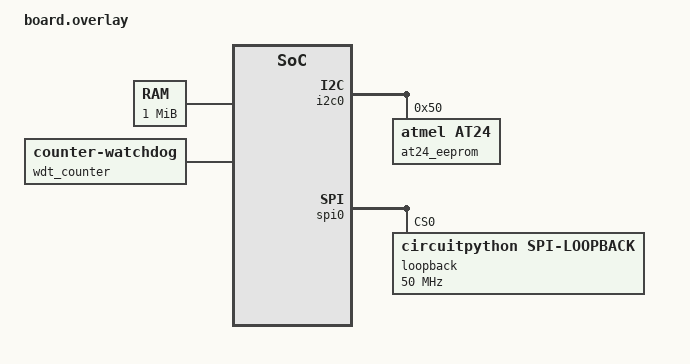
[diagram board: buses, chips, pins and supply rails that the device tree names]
/*
 * SPDX-License-Identifier: Apache-2.0
 *
 * Device tree overlay for CircuitPython on native_sim (littlefs filesystem).
 * Same as the native_sim overlay, but the user filesystem partition node is
 * named littlefs_partition to match the supervisor's littlefs build.
 */

#include <zephyr/dt-bindings/memory-attr/memory-attr-arm.h>

/* The mcuboot fork's layout (dts/native/native_sim.dtsi) is applied to this
 * image first and names the filesystem node fatfs_partition. Replace the whole
 * partition table so the filesystem node is littlefs_partition; the supervisor
 * opens the filesystem by that nodelabel. The geometry must match the fork's
 * layout: filesystem, then 8 KB storage, then 8 KB nvm. */

&flash0 {
	/delete-node/ partitions;

	partitions {
		#address-cells = <1>;
		#size-cells = <1>;

		littlefs_partition: partition@0 {
			compatible = "zephyr,mapped-partition";
			label = "filesystem";
			reg = <0x00000000 DT_SIZE_K(2032)>;
		};

		storage_partition: partition@1fc000 {
			compatible = "zephyr,mapped-partition";
			label = "storage";
			reg = <0x001fc000 DT_SIZE_K(8)>;
		};

		nvm_partition: partition@1fe000 {
			compatible = "zephyr,mapped-partition";
			label = "nvm";
			reg = <0x001fe000 0x00002000>;
		};
	};
};

/ {
	sram0: memory@20000000 {
		device_type = "memory";
		compatible = "zephyr,memory-region", "mmio-sram";
		reg = <0x20000000 DT_SIZE_M(1)>;
		zephyr,memory-region = "SRAM";
	};

	chosen {
		zephyr,sram = &sram0;
		/delete-property/ zephyr,flash;
	};
};

/* Add emulated I2C devices for testing */
&i2c0 {
	at24_eeprom: eeprom@50 {
		compatible = "atmel,at24";
		reg = <0x50>;
		size = <256>;
		pagesize = <8>;
		address-width = <8>;
		timeout = <5>;
	};
};

/* Expand ADC channels for analogio tests. */
&adc0 {
	nchannels = <4>;
	ref-internal-mv = <3300>;
	ref-vdd-mv = <3300>;
};

/ {
	dac0: dac {
		compatible = "vnd,dac";
		status = "okay";
		#io-channel-cells = <1>;
		vref-mv = <3300>;
	};

	/* Emulated watchdog for the watchdog module, built on the native_sim counter
	 * like Zephyr's own watchdog tests do (tests/drivers/watchdog). */
	wdt_counter: wdt-counter {
		compatible = "zephyr,counter-watchdog";
		status = "okay";
		counter = <&counter0>;
	};

	aliases {
		watchdog0 = &wdt_counter;
	};
};

/* Emulated PWM controller for pwmio tests: one channel per gpio_emul pin
 * and two period groups that any channel can join, clocked at 16 MHz. */
/ {
	pwm_emul: pwm-emul {
		compatible = "adafruit,pwm-emul";
		status = "okay";
		#pwm-cells = <3>;
		channels = <32>;
		groups = <2>;
		clock-frequency = <16000000>;
	};
};


#include "../../../app.overlay"

/* An SPI loopback for testing: MOSI wired to MISO. */
&spi0 {
	loopback: loopback@0 {
		compatible = "circuitpython,spi-loopback";
		reg = <0>;
		spi-max-frequency = <50000000>;
	};
};
